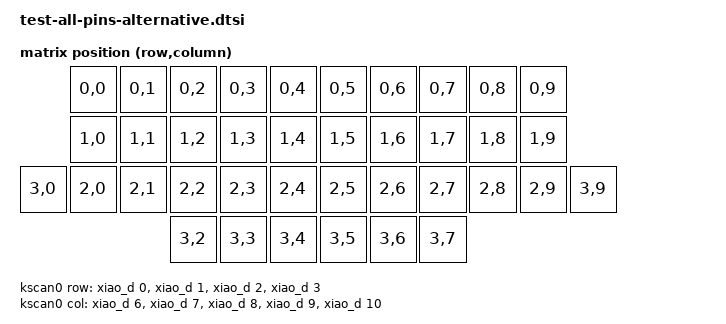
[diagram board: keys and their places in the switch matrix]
/*
 * Alternative Pin Configuration Tests
 * Purpose: Test common alternative pin arrangements used by clone manufacturers
 *
 * This file contains several preset configurations to try.
 * Uncomment one configuration at a time and test.
 */

#include <dt-bindings/zmk/matrix_transform.h>

/ {
    chosen {
        zmk,kscan = &kscan0;
        zmk,matrix_transform = &default_transform;
    };

    default_transform: keymap_transform_0 {
        compatible = "zmk,matrix-transform";
        columns = <10>;
        rows = <4>;
        map = <
                RC(0,0) RC(0,1) RC(0,2) RC(0,3) RC(0,4)    RC(0,5) RC(0,6) RC(0,7) RC(0,8) RC(0,9)
                RC(1,0) RC(1,1) RC(1,2) RC(1,3) RC(1,4)    RC(1,5) RC(1,6) RC(1,7) RC(1,8) RC(1,9)
        RC(3,0) RC(2,0) RC(2,1) RC(2,2) RC(2,3) RC(2,4)    RC(2,5) RC(2,6) RC(2,7) RC(2,8) RC(2,9) RC(3,9)
                                RC(3,2) RC(3,3) RC(3,4)    RC(3,5) RC(3,6) RC(3,7)
        >;
    };

    kscan0: kscan_0 {
        compatible = "zmk,kscan-gpio-matrix";
        label = "KSCAN";

        diode-direction = "col2row";

        // ============================================
        // CONFIGURATION 1: Sequential High Pins (D6-D10 for columns)
        // ============================================
        row-gpios
            = <&xiao_d 0 (GPIO_ACTIVE_HIGH | GPIO_PULL_DOWN)>
            , <&xiao_d 1 (GPIO_ACTIVE_HIGH | GPIO_PULL_DOWN)>
            , <&xiao_d 2 (GPIO_ACTIVE_HIGH | GPIO_PULL_DOWN)>
            , <&xiao_d 3 (GPIO_ACTIVE_HIGH | GPIO_PULL_DOWN)>
            ;
        col-gpios
            = <&xiao_d 6 GPIO_ACTIVE_HIGH>
            , <&xiao_d 7 GPIO_ACTIVE_HIGH>
            , <&xiao_d 8 GPIO_ACTIVE_HIGH>
            , <&xiao_d 9 GPIO_ACTIVE_HIGH>
            , <&xiao_d 10 GPIO_ACTIVE_HIGH>
            ;

        // ============================================
        // CONFIGURATION 2: P0/P1 Bank Separation
        // ============================================
        // Uncomment to test (comment out CONFIG 1 first)
        /*
        row-gpios
            = <&xiao_d 0 (GPIO_ACTIVE_HIGH | GPIO_PULL_DOWN)>
            , <&xiao_d 1 (GPIO_ACTIVE_HIGH | GPIO_PULL_DOWN)>
            , <&xiao_d 4 (GPIO_ACTIVE_HIGH | GPIO_PULL_DOWN)>
            , <&xiao_d 5 (GPIO_ACTIVE_HIGH | GPIO_PULL_DOWN)>
            ;
        col-gpios
            = <&xiao_d 6 GPIO_ACTIVE_HIGH>
            , <&xiao_d 7 GPIO_ACTIVE_HIGH>
            , <&xiao_d 8 GPIO_ACTIVE_HIGH>
            , <&xiao_d 9 GPIO_ACTIVE_HIGH>
            , <&xiao_d 10 GPIO_ACTIVE_HIGH>
            ;
        */

        // ============================================
        // CONFIGURATION 3: Completely Sequential (D0-D3, D4-D8)
        // ============================================
        // Uncomment to test (comment out CONFIG 1 first)
        /*
        row-gpios
            = <&xiao_d 0 (GPIO_ACTIVE_HIGH | GPIO_PULL_DOWN)>
            , <&xiao_d 1 (GPIO_ACTIVE_HIGH | GPIO_PULL_DOWN)>
            , <&xiao_d 2 (GPIO_ACTIVE_HIGH | GPIO_PULL_DOWN)>
            , <&xiao_d 3 (GPIO_ACTIVE_HIGH | GPIO_PULL_DOWN)>
            ;
        col-gpios
            = <&xiao_d 4 GPIO_ACTIVE_HIGH>
            , <&xiao_d 5 GPIO_ACTIVE_HIGH>
            , <&xiao_d 6 GPIO_ACTIVE_HIGH>
            , <&xiao_d 7 GPIO_ACTIVE_HIGH>
            , <&xiao_d 8 GPIO_ACTIVE_HIGH>
            ;
        */

        // ============================================
        // CONFIGURATION 4: Reversed Row Order
        // ============================================
        // Some clones wire rows in reverse order
        // Uncomment to test (comment out CONFIG 1 first)
        /*
        row-gpios
            = <&xiao_d 3 (GPIO_ACTIVE_HIGH | GPIO_PULL_DOWN)>
            , <&xiao_d 2 (GPIO_ACTIVE_HIGH | GPIO_PULL_DOWN)>
            , <&xiao_d 1 (GPIO_ACTIVE_HIGH | GPIO_PULL_DOWN)>
            , <&xiao_d 0 (GPIO_ACTIVE_HIGH | GPIO_PULL_DOWN)>
            ;
        col-gpios
            = <&xiao_d 4 GPIO_ACTIVE_HIGH>
            , <&xiao_d 5 GPIO_ACTIVE_HIGH>
            , <&xiao_d 10 GPIO_ACTIVE_HIGH>
            , <&xiao_d 9 GPIO_ACTIVE_HIGH>
            , <&xiao_d 8 GPIO_ACTIVE_HIGH>
            ;
        */

        // ============================================
        // CONFIGURATION 5: row2col (Reversed Diode Direction)
        // ============================================
        // If diodes point the other direction
        // Uncomment BOTH the diode-direction line above AND this config
        /*
        // Change line above to: diode-direction = "row2col";
        row-gpios
            = <&xiao_d 0 GPIO_ACTIVE_HIGH>
            , <&xiao_d 1 GPIO_ACTIVE_HIGH>
            , <&xiao_d 2 GPIO_ACTIVE_HIGH>
            , <&xiao_d 3 GPIO_ACTIVE_HIGH>
            ;
        col-gpios
            = <&xiao_d 4 (GPIO_ACTIVE_HIGH | GPIO_PULL_DOWN)>
            , <&xiao_d 5 (GPIO_ACTIVE_HIGH | GPIO_PULL_DOWN)>
            , <&xiao_d 10 (GPIO_ACTIVE_HIGH | GPIO_PULL_DOWN)>
            , <&xiao_d 9 (GPIO_ACTIVE_HIGH | GPIO_PULL_DOWN)>
            , <&xiao_d 8 (GPIO_ACTIVE_HIGH | GPIO_PULL_DOWN)>
            ;
        */
    };
};

/*
 * TESTING PROCEDURE:
 *
 * 1. Start with Configuration 1 (already active)
 * 2. Flash firmware with debug logging enabled
 * 3. Connect via USB and monitor logs
 * 4. Press various keys and check for ANY response
 * 5. If no response, comment out Config 1 and uncomment Config 2
 * 6. Repeat until you find a configuration that responds
 * 7. Once you find partial success, use single-key testing to refine
 *
 * LOG MONITORING:
 * - Linux: sudo dmesg -w | grep -i zmk
 * - Or: sudo cat /dev/ttyACM0 (or ttyACM1, etc.)
 * - Look for "kscan" or "matrix" events in the log
 *
 * SUCCESS CRITERIA:
 * - Any keypress registers in evtest
 * - Log shows matrix state changes
 * - Even if keys are mapped wrong, ANY response is progress
 */
